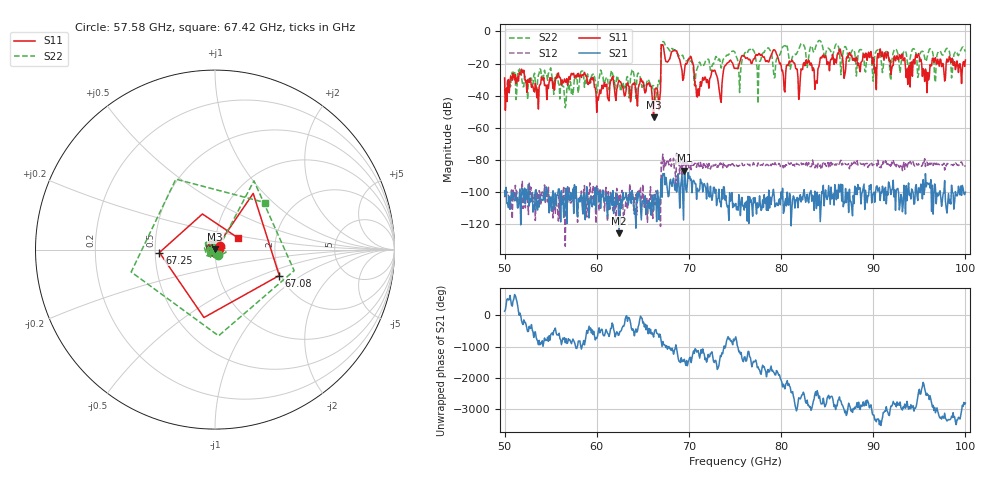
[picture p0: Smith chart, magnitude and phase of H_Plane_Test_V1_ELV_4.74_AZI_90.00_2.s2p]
! 11/27/2026 8:02:01 AM
! C:\ANRITSUVNA\TEMP\TEMP.S2P
! CHANNEL.1
! TR.MEASUREMENT
! RAW.DATA
# HZ S RI R 50.0
! FREQ.HZ  S11RE  S11IM  S21RE  S21IM  S12RE  S12IM  S22RE  S22IM
!; PortSelection: Port_12
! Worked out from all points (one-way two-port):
!   601 points, 50 GHz to 100 GHz, reference 50 ohm
!   highest |S21| = -86.83 dB at 69.5 GHz (marker M1); lowest = -126.0 dB at 62.42 GHz (marker M2)
!   lowest |S11| = -53.7 dB at 66.17 GHz (marker M3), VSWR 1.00, Z = 50.1 + j0.164 ohm
!   |S11| at or under -10 dB: start of sweep to 67 GHz; 67.24 GHz to end of sweep
!   |S22| runs from -47.6 to -5.6 dB; largest |S21 - S12| = 0.00017
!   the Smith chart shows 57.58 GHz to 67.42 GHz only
!   S11 on the Smith chart (normalised r, x): 57.58 GHz: 1.06, +0.05; 67.08 GHz: 1.97, -0.67; 67.25 GHz: 0.53, -0.02; 67.42 GHz: 1.29, +0.17
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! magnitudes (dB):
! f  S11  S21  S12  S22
! 50 GHz  -29.0  -99.4  -103.5  -35.8
! 57.58 GHz  -29.0  -95.6  -101.5  -28.5
! 58.42 GHz  -27.0  -108.8  -106.9  -24.6
! 60.17 GHz  -42.8  -100.0  -101.4  -30.2
! 62.42 GHz  -30.6  -126.0  -102.0  -30.7
! 66.17 GHz  -53.7  -111.7  -102.2  -33.8
! 66.67 GHz  -41.7  -103.8  -101.8  -31.6
! 67.08 GHz  -8.3  -103.4  -82.5  -6.8
! 67.25 GHz  -10.2  -89.6  -86.9  -6.3
! 67.42 GHz  -16.8  -95.6  -84.6  -8.4
! 69.5 GHz  -25.4  -86.8  -84.3  -18.1
! 70.25 GHz  -16.0  -92.1  -86.3  -18.8
! 70.92 GHz  -40.9  -97.8  -81.6  -22.9
! 75 GHz  -23.1  -108.5  -84.7  -13.1
! 79.25 GHz  -11.4  -102.5  -83.2  -29.0
! 80.25 GHz  -27.8  -113.5  -85.1  -9.3
! 83.42 GHz  -24.4  -102.1  -80.2  -10.9
! 91.67 GHz  -16.6  -93.9  -83.0  -15.3
! 93.75 GHz  -33.1  -99.5  -82.9  -21.8
! 94.83 GHz  -14.9  -105.5  -83.3  -28.7
! 95.83 GHz  -38.2  -94.5  -81.5  -16.4
! 100 GHz  -17.8  -100.3  -83.6  -12.6
